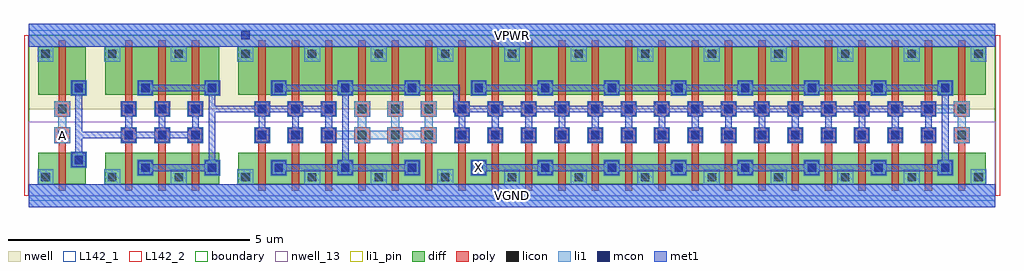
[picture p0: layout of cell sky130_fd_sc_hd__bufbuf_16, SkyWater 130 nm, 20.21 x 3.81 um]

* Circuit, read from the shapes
.subckt sky130_fd_sc_hd__bufbuf_16 A VGND VPWR X
XM1 n1 A VGND VSUBS sky130_fd_pr__nfet_01v8 w=0.65 l=0.15
XM2 n2 n1 VGND VSUBS sky130_fd_pr__nfet_01v8 w=0.65 l=0.15 m=3
XM3 n3 n2 VGND VSUBS sky130_fd_pr__nfet_01v8 w=0.65 l=0.15 m=6
XM4 X n3 VGND VSUBS sky130_fd_pr__nfet_01v8 w=0.65 l=0.15 m=16
XM5 n1 A VPWR n4 sky130_fd_pr__pfet_01v8 w=1 l=0.15
XM6 n2 n1 VPWR n4 sky130_fd_pr__pfet_01v8 w=1 l=0.15 m=3
XM7 n3 n2 VPWR n4 sky130_fd_pr__pfet_01v8 w=1 l=0.15 m=6
XM8 X n3 VPWR n4 sky130_fd_pr__pfet_01v8 w=1 l=0.15 m=16
.ends

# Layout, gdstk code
import gdstk
lib = gdstk.Library(unit=1e-6, precision=1e-09)
def R(c, l, rs):  # rectangles x0, y0, x1, y1
    for r in rs: c.add(gdstk.rectangle(r[:2], r[2:], *l))
def A(c, l, x, y, w, h, nx, ny, dx, dy):  # array of equal rectangles
    R(c, l, [(x+i*dx, y+j*dy, x+i*dx+w, y+j*dy+h) for i in range(nx) for j in range(ny)])
def P(c, l, *ps):  # polygons
    for p in ps: c.add(gdstk.Polygon(p, *l))
nwell_13 = (64, 13)
nwell = (64, 20)
diff = (65, 20)
poly = (66, 20)
licon = (66, 44)
li1_pin = (67, 16)
li1 = (67, 20)
mcon = (67, 44)
met1 = (68, 20)
L142_1 = (142, 1)
L142_2 = (142, 2)
boundary = (235, 4)

sky130_fd_sc_hd__bufbuf_ = lib.new_cell('sky130_fd_sc_hd__bufbuf_16')
R(sky130_fd_sc_hd__bufbuf_, nwell_13, [(0,0,20.01,1.54)])
R(sky130_fd_sc_hd__bufbuf_, nwell, [(0,1.79,20.01,3.33)])
A(sky130_fd_sc_hd__bufbuf_, diff, 4.755, 0.24, 0.69, 0.65, 21, 1, 0.69, 0)
A(sky130_fd_sc_hd__bufbuf_, diff, 4.755, 2.09, 0.69, 1, 21, 1, 0.69, 0)
R(sky130_fd_sc_hd__bufbuf_, diff, [(0.2,0.24,1.18,0.89), (0.2,0.24,0.615,0.89), (0.615,0.24,1.18,0.89), (1.58,0.24,3.94,0.89), (1.58,0.24,1.995,0.89), (1.995,0.24,2.685,0.89), (2.685,0.24,3.375,0.89), (3.375,0.24,3.94,0.89), (4.34,0.24,19.81,0.89), (4.34,0.24,4.755,0.89), (19.245,0.24,19.81,0.89), (0.2,2.09,1.18,3.09), (0.2,2.09,0.615,3.09), (0.615,2.09,1.18,3.09), (1.58,2.09,3.94,3.09), (1.58,2.09,1.995,3.09), (1.995,2.09,2.685,3.09), (2.685,2.09,3.375,3.09), (3.375,2.09,3.94,3.09), (4.34,2.09,19.81,3.09), (4.34,2.09,4.755,3.09), (19.245,2.09,19.81,3.09)])
P(sky130_fd_sc_hd__bufbuf_, poly, [(4.755,0.11),(4.755,1.095),(4.665,1.095),(4.665,1.425),(4.995,1.425),(4.995,1.095),(4.905,1.095),(4.905,0.11)],
  [(5.445,0.11),(5.445,1.095),(5.355,1.095),(5.355,1.425),(5.685,1.425),(5.685,1.095),(5.595,1.095),(5.595,0.11)],
  [(6.135,0.11),(6.135,1.095),(6.045,1.095),(6.045,1.425),(6.375,1.425),(6.375,1.095),(6.285,1.095),(6.285,0.11)],
  [(6.825,0.11),(6.825,1.095),(6.735,1.095),(6.735,1.425),(7.065,1.425),(7.065,1.095),(6.975,1.095),(6.975,0.11)],
  [(7.515,0.11),(7.515,1.095),(7.425,1.095),(7.425,1.425),(7.755,1.425),(7.755,1.095),(7.665,1.095),(7.665,0.11)],
  [(8.205,0.11),(8.205,1.095),(8.115,1.095),(8.115,1.425),(8.445,1.425),(8.445,1.095),(8.355,1.095),(8.355,0.11)],
  [(4.665,1.635),(4.665,1.965),(4.755,1.965),(4.755,3.22),(4.905,3.22),(4.905,1.965),(4.995,1.965),(4.995,1.635)],
  [(5.355,1.635),(5.355,1.965),(5.445,1.965),(5.445,3.22),(5.595,3.22),(5.595,1.965),(5.685,1.965),(5.685,1.635)],
  [(6.045,1.635),(6.045,1.965),(6.135,1.965),(6.135,3.22),(6.285,3.22),(6.285,1.965),(6.375,1.965),(6.375,1.635)],
  [(6.735,1.635),(6.735,1.965),(6.825,1.965),(6.825,3.22),(6.975,3.22),(6.975,1.965),(7.065,1.965),(7.065,1.635)],
  [(7.425,1.635),(7.425,1.965),(7.515,1.965),(7.515,3.22),(7.665,3.22),(7.665,1.965),(7.755,1.965),(7.755,1.635)],
  [(8.115,1.635),(8.115,1.965),(8.205,1.965),(8.205,3.22),(8.355,3.22),(8.355,1.965),(8.445,1.965),(8.445,1.635)],
  [(8.895,0.11),(8.895,1.095),(8.805,1.095),(8.805,1.425),(9.135,1.425),(9.135,1.095),(9.045,1.095),(9.045,0.11)],
  [(9.585,0.11),(9.585,1.095),(9.495,1.095),(9.495,1.425),(9.825,1.425),(9.825,1.095),(9.735,1.095),(9.735,0.11)],
  [(10.275,0.11),(10.275,1.095),(10.185,1.095),(10.185,1.425),(10.515,1.425),(10.515,1.095),(10.425,1.095),(10.425,0.11)],
  [(10.965,0.11),(10.965,1.095),(10.875,1.095),(10.875,1.425),(11.205,1.425),(11.205,1.095),(11.115,1.095),(11.115,0.11)],
  [(11.655,0.11),(11.655,1.095),(11.565,1.095),(11.565,1.425),(11.895,1.425),(11.895,1.095),(11.805,1.095),(11.805,0.11)],
  [(12.345,0.11),(12.345,1.095),(12.255,1.095),(12.255,1.425),(12.585,1.425),(12.585,1.095),(12.495,1.095),(12.495,0.11)],
  [(13.035,0.11),(13.035,1.095),(12.945,1.095),(12.945,1.425),(13.275,1.425),(13.275,1.095),(13.185,1.095),(13.185,0.11)],
  [(13.725,0.11),(13.725,1.095),(13.635,1.095),(13.635,1.425),(13.965,1.425),(13.965,1.095),(13.875,1.095),(13.875,0.11)],
  [(14.415,0.11),(14.415,1.095),(14.325,1.095),(14.325,1.425),(14.655,1.425),(14.655,1.095),(14.565,1.095),(14.565,0.11)],
  [(15.105,0.11),(15.105,1.095),(15.015,1.095),(15.015,1.425),(15.345,1.425),(15.345,1.095),(15.255,1.095),(15.255,0.11)],
  [(15.795,0.11),(15.795,1.095),(15.705,1.095),(15.705,1.425),(16.035,1.425),(16.035,1.095),(15.945,1.095),(15.945,0.11)],
  [(16.485,0.11),(16.485,1.095),(16.395,1.095),(16.395,1.425),(16.725,1.425),(16.725,1.095),(16.635,1.095),(16.635,0.11)],
  [(17.175,0.11),(17.175,1.095),(17.085,1.095),(17.085,1.425),(17.415,1.425),(17.415,1.095),(17.325,1.095),(17.325,0.11)],
  [(17.865,0.11),(17.865,1.095),(17.775,1.095),(17.775,1.425),(18.105,1.425),(18.105,1.095),(18.015,1.095),(18.015,0.11)],
  [(18.555,0.11),(18.555,1.095),(18.465,1.095),(18.465,1.425),(18.795,1.425),(18.795,1.095),(18.705,1.095),(18.705,0.11)],
  [(19.245,0.11),(19.245,1.095),(19.155,1.095),(19.155,1.425),(19.485,1.425),(19.485,1.095),(19.395,1.095),(19.395,0.11)],
  [(8.805,1.635),(8.805,1.965),(8.895,1.965),(8.895,3.22),(9.045,3.22),(9.045,1.965),(9.135,1.965),(9.135,1.635)],
  [(9.495,1.635),(9.495,1.965),(9.585,1.965),(9.585,3.22),(9.735,3.22),(9.735,1.965),(9.825,1.965),(9.825,1.635)],
  [(10.185,1.635),(10.185,1.965),(10.275,1.965),(10.275,3.22),(10.425,3.22),(10.425,1.965),(10.515,1.965),(10.515,1.635)],
  [(10.875,1.635),(10.875,1.965),(10.965,1.965),(10.965,3.22),(11.115,3.22),(11.115,1.965),(11.205,1.965),(11.205,1.635)],
  [(11.565,1.635),(11.565,1.965),(11.655,1.965),(11.655,3.22),(11.805,3.22),(11.805,1.965),(11.895,1.965),(11.895,1.635)],
  [(12.255,1.635),(12.255,1.965),(12.345,1.965),(12.345,3.22),(12.495,3.22),(12.495,1.965),(12.585,1.965),(12.585,1.635)],
  [(12.945,1.635),(12.945,1.965),(13.035,1.965),(13.035,3.22),(13.185,3.22),(13.185,1.965),(13.275,1.965),(13.275,1.635)],
  [(13.635,1.635),(13.635,1.965),(13.725,1.965),(13.725,3.22),(13.875,3.22),(13.875,1.965),(13.965,1.965),(13.965,1.635)],
  [(14.325,1.635),(14.325,1.965),(14.415,1.965),(14.415,3.22),(14.565,3.22),(14.565,1.965),(14.655,1.965),(14.655,1.635)],
  [(15.015,1.635),(15.015,1.965),(15.105,1.965),(15.105,3.22),(15.255,3.22),(15.255,1.965),(15.345,1.965),(15.345,1.635)],
  [(15.705,1.635),(15.705,1.965),(15.795,1.965),(15.795,3.22),(15.945,3.22),(15.945,1.965),(16.035,1.965),(16.035,1.635)],
  [(16.395,1.635),(16.395,1.965),(16.485,1.965),(16.485,3.22),(16.635,3.22),(16.635,1.965),(16.725,1.965),(16.725,1.635)],
  [(17.085,1.635),(17.085,1.965),(17.175,1.965),(17.175,3.22),(17.325,3.22),(17.325,1.965),(17.415,1.965),(17.415,1.635)],
  [(17.775,1.635),(17.775,1.965),(17.865,1.965),(17.865,3.22),(18.015,3.22),(18.015,1.965),(18.105,1.965),(18.105,1.635)],
  [(18.465,1.635),(18.465,1.965),(18.555,1.965),(18.555,3.22),(18.705,3.22),(18.705,1.965),(18.795,1.965),(18.795,1.635)],
  [(19.155,1.635),(19.155,1.965),(19.245,1.965),(19.245,3.22),(19.395,3.22),(19.395,1.965),(19.485,1.965),(19.485,1.635)],
  [(0.615,0.11),(0.615,1.095),(0.525,1.095),(0.525,1.425),(0.855,1.425),(0.855,1.095),(0.765,1.095),(0.765,0.11)],
  [(0.525,1.635),(0.525,1.965),(0.615,1.965),(0.615,3.22),(0.765,3.22),(0.765,1.965),(0.855,1.965),(0.855,1.635)],
  [(1.995,0.11),(1.995,1.095),(1.905,1.095),(1.905,1.425),(2.235,1.425),(2.235,1.095),(2.145,1.095),(2.145,0.11)],
  [(2.685,0.11),(2.685,1.095),(2.595,1.095),(2.595,1.425),(2.925,1.425),(2.925,1.095),(2.835,1.095),(2.835,0.11)],
  [(3.375,0.11),(3.375,1.095),(3.285,1.095),(3.285,1.425),(3.615,1.425),(3.615,1.095),(3.525,1.095),(3.525,0.11)],
  [(1.905,1.635),(1.905,1.965),(1.995,1.965),(1.995,3.22),(2.145,3.22),(2.145,1.965),(2.235,1.965),(2.235,1.635)],
  [(2.595,1.635),(2.595,1.965),(2.685,1.965),(2.685,3.22),(2.835,3.22),(2.835,1.965),(2.925,1.965),(2.925,1.635)],
  [(3.285,1.635),(3.285,1.965),(3.375,1.965),(3.375,3.22),(3.525,3.22),(3.525,1.965),(3.615,1.965),(3.615,1.635)])
A(sky130_fd_sc_hd__bufbuf_, licon, 0.26, 0.3, 0.17, 0.17, 15, 2, 1.38, 2.56)
A(sky130_fd_sc_hd__bufbuf_, licon, 2.33, 0.5, 0.17, 0.17, 13, 1, 1.38, 0)
A(sky130_fd_sc_hd__bufbuf_, licon, 1.985, 1.175, 0.17, 0.17, 3, 2, 0.69, 0.54)
A(sky130_fd_sc_hd__bufbuf_, licon, 4.745, 1.175, 0.17, 0.17, 22, 2, 0.69, 0.54)
A(sky130_fd_sc_hd__bufbuf_, licon, 0.95, 2.15, 0.17, 0.17, 14, 1, 1.38, 0)
R(sky130_fd_sc_hd__bufbuf_, licon, [(0.95,0.66,1.12,0.83), (0.605,1.175,0.775,1.345), (0.605,1.715,0.775,1.885)])
R(sky130_fd_sc_hd__bufbuf_, li1_pin, [(0,-0.24,20.01,0.24), (9.15,0.42,9.48,0.75), (0,3.09,20.01,3.57)])
P(sky130_fd_sc_hd__bufbuf_, li1_pin, [(0.525,1.095),(0.525,1.425),(0.605,1.425),(0.605,1.635),(0.525,1.635),(0.525,1.965),(0.855,1.965),(0.855,1.635),(0.775,1.635),(0.775,1.425),(0.855,1.425),(0.855,1.095)])
A(sky130_fd_sc_hd__bufbuf_, li1, 2.25, 0.42, 0.33, 0.33, 13, 1, 1.38, 0)
A(sky130_fd_sc_hd__bufbuf_, li1, 1.905, 1.095, 0.33, 0.33, 3, 2, 0.69, 0.54)
A(sky130_fd_sc_hd__bufbuf_, li1, 8.805, 1.095, 0.33, 0.33, 15, 1, 0.69, 0)
A(sky130_fd_sc_hd__bufbuf_, li1, 4.665, 1.635, 0.33, 0.33, 3, 1, 0.69, 0)
A(sky130_fd_sc_hd__bufbuf_, li1, 8.805, 1.635, 0.33, 0.33, 14, 1, 0.69, 0)
A(sky130_fd_sc_hd__bufbuf_, li1, 0.87, 2.07, 0.33, 0.33, 14, 1, 1.38, 0)
R(sky130_fd_sc_hd__bufbuf_, li1, [(0.87,0.58,1.2,0.91), (4.665,1.095,4.995,1.425), (5.355,1.095,5.685,1.425)])
P(sky130_fd_sc_hd__bufbuf_, li1, [(6.045,1.095),(6.045,1.425),(6.375,1.425),(6.375,1.345),(6.735,1.345),(6.735,1.425),(6.815,1.425),(6.815,1.635),(6.735,1.635),(6.735,1.965),(7.065,1.965),(7.065,1.635),(6.985,1.635),(6.985,1.425),(7.065,1.425),(7.065,1.345),(7.425,1.345),(7.425,1.425),(7.505,1.425),(7.505,1.635),(7.425,1.635),(7.425,1.965),(7.755,1.965),(7.755,1.635),(7.675,1.635),(7.675,1.425),(7.755,1.425),(7.755,1.345),(8.115,1.345),(8.115,1.425),(8.195,1.425),(8.195,1.635),(8.115,1.635),(8.115,1.965),(8.445,1.965),(8.445,1.635),(8.365,1.635),(8.365,1.425),(8.445,1.425),(8.445,1.095),(8.115,1.095),(8.115,1.175),(7.755,1.175),(7.755,1.095),(7.425,1.095),(7.425,1.175),(7.065,1.175),(7.065,1.095),(6.735,1.095),(6.735,1.175),(6.375,1.175),(6.375,1.095)],
  [(0.18,2.78),(0.18,3.09),(0,3.09),(0,3.57),(20.01,3.57),(20.01,3.09),(19.83,3.09),(19.83,2.78),(19.5,2.78),(19.5,3.09),(18.45,3.09),(18.45,2.78),(18.12,2.78),(18.12,3.09),(17.07,3.09),(17.07,2.78),(16.74,2.78),(16.74,3.09),(15.69,3.09),(15.69,2.78),(15.36,2.78),(15.36,3.09),(14.31,3.09),(14.31,2.78),(13.98,2.78),(13.98,3.09),(12.93,3.09),(12.93,2.78),(12.6,2.78),(12.6,3.09),(11.55,3.09),(11.55,2.78),(11.22,2.78),(11.22,3.09),(10.17,3.09),(10.17,2.78),(9.84,2.78),(9.84,3.09),(8.79,3.09),(8.79,2.78),(8.46,2.78),(8.46,3.09),(7.41,3.09),(7.41,2.78),(7.08,2.78),(7.08,3.09),(6.03,3.09),(6.03,2.78),(5.7,2.78),(5.7,3.09),(4.65,3.09),(4.65,2.78),(4.32,2.78),(4.32,3.09),(3.27,3.09),(3.27,2.78),(2.94,2.78),(2.94,3.09),(1.89,3.09),(1.89,2.78),(1.56,2.78),(1.56,3.09),(0.51,3.09),(0.51,2.78)],
  [(19.155,1.095),(19.155,1.425),(19.235,1.425),(19.235,1.635),(19.155,1.635),(19.155,1.715),(18.795,1.715),(18.795,1.635),(18.465,1.635),(18.465,1.965),(18.795,1.965),(18.795,1.885),(19.155,1.885),(19.155,1.965),(19.485,1.965),(19.485,1.635),(19.405,1.635),(19.405,1.425),(19.485,1.425),(19.485,1.095)],
  [(0,-0.24),(0,0.24),(0.18,0.24),(0.18,0.55),(0.51,0.55),(0.51,0.24),(1.56,0.24),(1.56,0.55),(1.89,0.55),(1.89,0.24),(2.94,0.24),(2.94,0.55),(3.27,0.55),(3.27,0.24),(4.32,0.24),(4.32,0.55),(4.65,0.55),(4.65,0.24),(5.7,0.24),(5.7,0.55),(6.03,0.55),(6.03,0.24),(7.08,0.24),(7.08,0.55),(7.41,0.55),(7.41,0.24),(8.46,0.24),(8.46,0.55),(8.79,0.55),(8.79,0.24),(9.84,0.24),(9.84,0.55),(10.17,0.55),(10.17,0.24),(11.22,0.24),(11.22,0.55),(11.55,0.55),(11.55,0.24),(12.6,0.24),(12.6,0.55),(12.93,0.55),(12.93,0.24),(13.98,0.24),(13.98,0.55),(14.31,0.55),(14.31,0.24),(15.36,0.24),(15.36,0.55),(15.69,0.55),(15.69,0.24),(16.74,0.24),(16.74,0.55),(17.07,0.55),(17.07,0.24),(18.12,0.24),(18.12,0.55),(18.45,0.55),(18.45,0.24),(19.5,0.24),(19.5,0.55),(19.83,0.55),(19.83,0.24),(20.01,0.24),(20.01,-0.24)],
  [(0.525,1.095),(0.525,1.425),(0.605,1.425),(0.605,1.635),(0.525,1.635),(0.525,1.965),(0.855,1.965),(0.855,1.635),(0.775,1.635),(0.775,1.425),(0.855,1.425),(0.855,1.095)])
A(sky130_fd_sc_hd__bufbuf_, mcon, 2.33, 0.5, 0.17, 0.17, 13, 1, 1.38, 0)
A(sky130_fd_sc_hd__bufbuf_, mcon, 1.985, 1.175, 0.17, 0.17, 3, 2, 0.69, 0.54)
A(sky130_fd_sc_hd__bufbuf_, mcon, 4.745, 1.175, 0.17, 0.17, 3, 2, 0.69, 0.54)
A(sky130_fd_sc_hd__bufbuf_, mcon, 8.885, 1.175, 0.17, 0.17, 15, 2, 0.69, 0.54)
A(sky130_fd_sc_hd__bufbuf_, mcon, 0.95, 2.15, 0.17, 0.17, 14, 1, 1.38, 0)
R(sky130_fd_sc_hd__bufbuf_, mcon, [(9.92,-0.085,10.09,0.085), (0.95,0.66,1.12,0.83), (4.4,3.245,4.57,3.415)])
R(sky130_fd_sc_hd__bufbuf_, met1, [(0,-0.24,20.01,0.24), (0,3.09,20.01,3.57)])
P(sky130_fd_sc_hd__bufbuf_, met1, [(2.27,0.44),(2.27,0.73),(2.56,0.73),(2.56,0.655),(3.65,0.655),(3.65,0.73),(3.725,0.73),(3.725,2.09),(3.65,2.09),(3.65,2.165),(2.56,2.165),(2.56,2.09),(2.27,2.09),(2.27,2.38),(2.56,2.38),(2.56,2.305),(3.65,2.305),(3.65,2.38),(3.94,2.38),(3.94,2.09),(3.865,2.09),(3.865,1.87),(4.685,1.87),(4.685,1.945),(4.975,1.945),(4.975,1.87),(5.375,1.87),(5.375,1.945),(5.665,1.945),(5.665,1.87),(6.065,1.87),(6.065,1.945),(6.355,1.945),(6.355,1.655),(6.28,1.655),(6.28,1.405),(6.355,1.405),(6.355,1.115),(6.065,1.115),(6.065,1.405),(6.14,1.405),(6.14,1.655),(6.065,1.655),(6.065,1.73),(5.665,1.73),(5.665,1.655),(5.59,1.655),(5.59,1.405),(5.665,1.405),(5.665,1.115),(5.375,1.115),(5.375,1.405),(5.45,1.405),(5.45,1.655),(5.375,1.655),(5.375,1.73),(4.975,1.73),(4.975,1.655),(4.9,1.655),(4.9,1.405),(4.975,1.405),(4.975,1.115),(4.685,1.115),(4.685,1.405),(4.76,1.405),(4.76,1.655),(4.685,1.655),(4.685,1.73),(3.865,1.73),(3.865,0.73),(3.94,0.73),(3.94,0.44),(3.65,0.44),(3.65,0.515),(2.56,0.515),(2.56,0.44)],
  [(5.03,0.44),(5.03,0.73),(5.32,0.73),(5.32,0.655),(6.41,0.655),(6.41,0.73),(6.485,0.73),(6.485,2.09),(6.41,2.09),(6.41,2.165),(5.32,2.165),(5.32,2.09),(5.03,2.09),(5.03,2.38),(5.32,2.38),(5.32,2.305),(6.41,2.305),(6.41,2.38),(6.7,2.38),(6.7,2.305),(7.79,2.305),(7.79,2.38),(8.08,2.38),(8.08,2.305),(8.925,2.305),(8.925,1.945),(9.115,1.945),(9.115,1.87),(9.515,1.87),(9.515,1.945),(9.805,1.945),(9.805,1.87),(10.205,1.87),(10.205,1.945),(10.495,1.945),(10.495,1.87),(10.895,1.87),(10.895,1.945),(11.185,1.945),(11.185,1.87),(11.585,1.87),(11.585,1.945),(11.875,1.945),(11.875,1.87),(12.275,1.87),(12.275,1.945),(12.565,1.945),(12.565,1.87),(12.965,1.87),(12.965,1.945),(13.255,1.945),(13.255,1.87),(13.655,1.87),(13.655,1.945),(13.945,1.945),(13.945,1.87),(14.345,1.87),(14.345,1.945),(14.635,1.945),(14.635,1.87),(15.035,1.87),(15.035,1.945),(15.325,1.945),(15.325,1.87),(15.725,1.87),(15.725,1.945),(16.015,1.945),(16.015,1.87),(16.415,1.87),(16.415,1.945),(16.705,1.945),(16.705,1.87),(17.105,1.87),(17.105,1.945),(17.395,1.945),(17.395,1.87),(17.795,1.87),(17.795,1.945),(18.085,1.945),(18.085,1.87),(18.485,1.87),(18.485,1.945),(18.775,1.945),(18.775,1.655),(18.7,1.655),(18.7,1.405),(18.775,1.405),(18.775,1.115),(18.485,1.115),(18.485,1.405),(18.56,1.405),(18.56,1.655),(18.485,1.655),(18.485,1.73),(18.085,1.73),(18.085,1.655),(18.01,1.655),(18.01,1.405),(18.085,1.405),(18.085,1.115),(17.795,1.115),(17.795,1.405),(17.87,1.405),(17.87,1.655),(17.795,1.655),(17.795,1.73),(17.395,1.73),(17.395,1.655),(17.32,1.655),(17.32,1.405),(17.395,1.405),(17.395,1.115),(17.105,1.115),(17.105,1.405),(17.18,1.405),(17.18,1.655),(17.105,1.655),(17.105,1.73),(16.705,1.73),(16.705,1.655),(16.63,1.655),(16.63,1.405),(16.705,1.405),(16.705,1.115),(16.415,1.115),(16.415,1.405),(16.49,1.405),(16.49,1.655),(16.415,1.655),(16.415,1.73),(16.015,1.73),(16.015,1.655),(15.94,1.655),(15.94,1.405),(16.015,1.405),(16.015,1.115),(15.725,1.115),(15.725,1.405),(15.8,1.405),(15.8,1.655),(15.725,1.655),(15.725,1.73),(15.325,1.73),(15.325,1.655),(15.25,1.655),(15.25,1.405),(15.325,1.405),(15.325,1.115),(15.035,1.115),(15.035,1.405),(15.11,1.405),(15.11,1.655),(15.035,1.655),(15.035,1.73),(14.635,1.73),(14.635,1.655),(14.56,1.655),(14.56,1.405),(14.635,1.405),(14.635,1.115),(14.345,1.115),(14.345,1.405),(14.42,1.405),(14.42,1.655),(14.345,1.655),(14.345,1.73),(13.945,1.73),(13.945,1.655),(13.87,1.655),(13.87,1.405),(13.945,1.405),(13.945,1.115),(13.655,1.115),(13.655,1.405),(13.73,1.405),(13.73,1.655),(13.655,1.655),(13.655,1.73),(13.255,1.73),(13.255,1.655),(13.18,1.655),(13.18,1.405),(13.255,1.405),(13.255,1.115),(12.965,1.115),(12.965,1.405),(13.04,1.405),(13.04,1.655),(12.965,1.655),(12.965,1.73),(12.565,1.73),(12.565,1.655),(12.49,1.655),(12.49,1.405),(12.565,1.405),(12.565,1.115),(12.275,1.115),(12.275,1.405),(12.35,1.405),(12.35,1.655),(12.275,1.655),(12.275,1.73),(11.875,1.73),(11.875,1.655),(11.8,1.655),(11.8,1.405),(11.875,1.405),(11.875,1.115),(11.585,1.115),(11.585,1.405),(11.66,1.405),(11.66,1.655),(11.585,1.655),(11.585,1.73),(11.185,1.73),(11.185,1.655),(11.11,1.655),(11.11,1.405),(11.185,1.405),(11.185,1.115),(10.895,1.115),(10.895,1.405),(10.97,1.405),(10.97,1.655),(10.895,1.655),(10.895,1.73),(10.495,1.73),(10.495,1.655),(10.42,1.655),(10.42,1.405),(10.495,1.405),(10.495,1.115),(10.205,1.115),(10.205,1.405),(10.28,1.405),(10.28,1.655),(10.205,1.655),(10.205,1.73),(9.805,1.73),(9.805,1.655),(9.73,1.655),(9.73,1.405),(9.805,1.405),(9.805,1.115),(9.515,1.115),(9.515,1.405),(9.59,1.405),(9.59,1.655),(9.515,1.655),(9.515,1.73),(9.115,1.73),(9.115,1.655),(9.04,1.655),(9.04,1.405),(9.115,1.405),(9.115,1.115),(8.825,1.115),(8.825,1.405),(8.9,1.405),(8.9,1.655),(8.825,1.655),(8.825,1.73),(8.785,1.73),(8.785,2.165),(8.08,2.165),(8.08,2.09),(7.79,2.09),(7.79,2.165),(6.7,2.165),(6.7,2.09),(6.625,2.09),(6.625,0.73),(6.7,0.73),(6.7,0.655),(7.79,0.655),(7.79,0.73),(8.08,0.73),(8.08,0.44),(7.79,0.44),(7.79,0.515),(6.7,0.515),(6.7,0.44),(6.41,0.44),(6.41,0.515),(5.32,0.515),(5.32,0.44)],
  [(0.89,0.6),(0.89,0.89),(0.965,0.89),(0.965,2.09),(0.89,2.09),(0.89,2.38),(1.18,2.38),(1.18,2.09),(1.105,2.09),(1.105,1.33),(1.925,1.33),(1.925,1.405),(2,1.405),(2,1.655),(1.925,1.655),(1.925,1.945),(2.215,1.945),(2.215,1.655),(2.14,1.655),(2.14,1.405),(2.215,1.405),(2.215,1.33),(2.615,1.33),(2.615,1.405),(2.69,1.405),(2.69,1.655),(2.615,1.655),(2.615,1.945),(2.905,1.945),(2.905,1.655),(2.83,1.655),(2.83,1.405),(2.905,1.405),(2.905,1.33),(3.305,1.33),(3.305,1.405),(3.38,1.405),(3.38,1.655),(3.305,1.655),(3.305,1.945),(3.595,1.945),(3.595,1.655),(3.52,1.655),(3.52,1.405),(3.595,1.405),(3.595,1.115),(3.305,1.115),(3.305,1.19),(2.905,1.19),(2.905,1.115),(2.615,1.115),(2.615,1.19),(2.215,1.19),(2.215,1.115),(1.925,1.115),(1.925,1.19),(1.105,1.19),(1.105,0.89),(1.18,0.89),(1.18,0.6)],
  [(9.17,0.44),(9.17,0.73),(9.46,0.73),(9.46,0.655),(10.55,0.655),(10.55,0.73),(10.84,0.73),(10.84,0.655),(11.93,0.655),(11.93,0.73),(12.22,0.73),(12.22,0.655),(13.31,0.655),(13.31,0.73),(13.6,0.73),(13.6,0.655),(14.69,0.655),(14.69,0.73),(14.98,0.73),(14.98,0.655),(16.07,0.655),(16.07,0.73),(16.36,0.73),(16.36,0.655),(17.45,0.655),(17.45,0.73),(17.74,0.73),(17.74,0.655),(18.83,0.655),(18.83,0.73),(18.905,0.73),(18.905,2.09),(18.83,2.09),(18.83,2.165),(17.74,2.165),(17.74,2.09),(17.45,2.09),(17.45,2.165),(16.36,2.165),(16.36,2.09),(16.07,2.09),(16.07,2.165),(14.98,2.165),(14.98,2.09),(14.69,2.09),(14.69,2.165),(13.6,2.165),(13.6,2.09),(13.31,2.09),(13.31,2.165),(12.22,2.165),(12.22,2.09),(11.93,2.09),(11.93,2.165),(10.84,2.165),(10.84,2.09),(10.55,2.09),(10.55,2.165),(9.46,2.165),(9.46,2.09),(9.17,2.09),(9.17,2.38),(9.46,2.38),(9.46,2.305),(10.55,2.305),(10.55,2.38),(10.84,2.38),(10.84,2.305),(11.93,2.305),(11.93,2.38),(12.22,2.38),(12.22,2.305),(13.31,2.305),(13.31,2.38),(13.6,2.38),(13.6,2.305),(14.69,2.305),(14.69,2.38),(14.98,2.38),(14.98,2.305),(16.07,2.305),(16.07,2.38),(16.36,2.38),(16.36,2.305),(17.45,2.305),(17.45,2.38),(17.74,2.38),(17.74,2.305),(18.83,2.305),(18.83,2.38),(19.12,2.38),(19.12,2.09),(19.045,2.09),(19.045,0.73),(19.12,0.73),(19.12,0.44),(18.83,0.44),(18.83,0.515),(17.74,0.515),(17.74,0.44),(17.45,0.44),(17.45,0.515),(16.36,0.515),(16.36,0.44),(16.07,0.44),(16.07,0.515),(14.98,0.515),(14.98,0.44),(14.69,0.44),(14.69,0.515),(13.6,0.515),(13.6,0.44),(13.31,0.44),(13.31,0.515),(12.22,0.515),(12.22,0.44),(11.93,0.44),(11.93,0.515),(10.84,0.515),(10.84,0.44),(10.55,0.44),(10.55,0.515),(9.46,0.515),(9.46,0.44)])
R(sky130_fd_sc_hd__bufbuf_, L142_1, [(0,-0.1,20.01,0), (0,3.33,20.01,3.43)])
R(sky130_fd_sc_hd__bufbuf_, L142_2, [(-0.1,0,0,3.33), (20.01,0,20.11,3.33)])
R(sky130_fd_sc_hd__bufbuf_, boundary, [(0,0,20.01,3.33)])
sky130_fd_sc_hd__bufbuf_.add(gdstk.Label('X', (9.315,0.585), layer=67, texttype=5))
sky130_fd_sc_hd__bufbuf_.add(gdstk.Label('A', (0.69,1.26), layer=67, texttype=5))
sky130_fd_sc_hd__bufbuf_.add(gdstk.Label('VGND', (10.005,0), layer=67, texttype=5))
sky130_fd_sc_hd__bufbuf_.add(gdstk.Label('VPWR', (10.005,3.33), layer=67, texttype=5))
sky130_fd_sc_hd__bufbuf_.add(gdstk.Label('VGND', (10.005,0), layer=68, texttype=5))
sky130_fd_sc_hd__bufbuf_.add(gdstk.Label('VPWR', (10.005,3.33), layer=68, texttype=5))

lib.write_gds('sky130_fd_sc_hd__bufbuf_16.gds')
